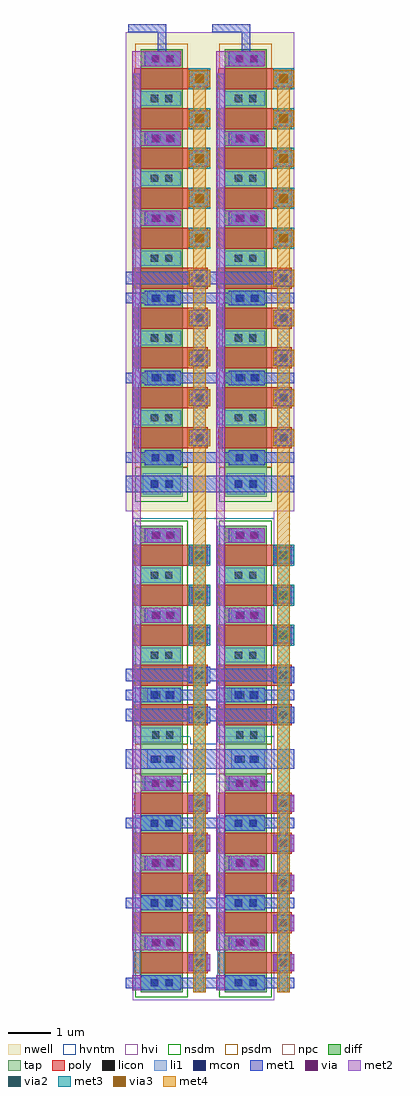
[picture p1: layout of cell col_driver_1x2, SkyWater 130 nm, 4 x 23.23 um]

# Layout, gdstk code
import gdstk
lib = gdstk.Library(unit=1e-6, precision=1e-09)
def R(c, l, rs):  # rectangles x0, y0, x1, y1
    for r in rs: c.add(gdstk.rectangle(r[:2], r[2:], *l))
def A(c, l, x, y, w, h, nx, ny, dx, dy):  # array of equal rectangles
    R(c, l, [(x+i*dx, y+j*dy, x+i*dx+w, y+j*dy+h) for i in range(nx) for j in range(ny)])
nwell = (64, 20)
diff = (65, 20)
tap = (65, 44)
poly = (66, 20)
licon = (66, 44)
li1 = (67, 20)
mcon = (67, 44)
met1 = (68, 20)
via = (68, 44)
met2 = (69, 20)
via2 = (69, 44)
met3 = (70, 20)
via3 = (70, 44)
met4 = (71, 20)
hvi = (75, 20)
nsdm = (93, 44)
psdm = (94, 20)
npc = (95, 20)
hvntm = (125, 20)

col_driver = lib.new_cell('col_driver')
R(col_driver, nwell, [(-0.3,-7.89,1.7,3.51)])
R(col_driver, diff, [(0.05,-19.34,1.05,-14.14), (0.05,-13.44,1.05,-8.24), (0.05,-6.84,1.05,3.11)])
R(col_driver, tap, [(0.05,-14.14,1.05,-13.44), (0.05,-7.54,1.05,-6.84)])
A(col_driver, poly, -0.1, -18.89, 1.75, 0.5, 1, 5, 0, 0.95)
A(col_driver, poly, -0.1, -12.99, 1.75, 0.5, 1, 5, 0, 0.95)
A(col_driver, poly, -0.1, -6.39, 1.75, 0.5, 1, 10, 0, 0.95)
A(col_driver, licon, 0.295, -19.2, 0.17, 0.17, 1, 3, 0, 1.9)
A(col_driver, licon, 0.635, -19.2, 0.17, 0.17, 1, 3, 0, 1.9)
A(col_driver, licon, 1.365, -18.725, 0.17, 0.17, 1, 5, 0, 0.95)
A(col_driver, licon, 1.365, -12.825, 0.17, 0.17, 1, 5, 0, 0.95)
A(col_driver, licon, 1.365, -6.225, 0.17, 0.17, 1, 10, 0, 0.95)
A(col_driver, licon, 0.295, -5.75, 0.17, 0.17, 1, 5, 0, 1.9)
A(col_driver, licon, 0.635, -5.75, 0.17, 0.17, 1, 5, 0, 1.9)
R(col_driver, licon, [(0.345,-18.25,0.515,-18.08), (0.685,-18.25,0.855,-18.08), (0.355,-16.35,0.525,-16.18), (0.695,-16.35,0.865,-16.18), (0.32,-14.45,0.49,-14.28), (0.66,-14.45,0.83,-14.28), (0.355,-13.875,0.525,-13.705), (0.695,-13.875,0.865,-13.705), (0.32,-13.3,0.49,-13.13), (0.66,-13.3,0.83,-13.13), (0.34,-12.35,0.51,-12.18), (0.68,-12.35,0.85,-12.18), (0.295,-11.4,0.465,-11.23), (0.635,-11.4,0.805,-11.23), (0.35,-10.45,0.52,-10.28), (0.69,-10.45,0.86,-10.28), (0.295,-9.5,0.465,-9.33), (0.635,-9.5,0.805,-9.33), (0.35,-8.55,0.52,-8.38), (0.69,-8.55,0.86,-8.38), (0.295,-7.325,0.465,-7.155), (0.635,-7.325,0.805,-7.155), (0.32,-6.7,0.49,-6.53), (0.66,-6.7,0.83,-6.53), (0.365,-4.8,0.535,-4.63), (0.705,-4.8,0.875,-4.63), (0.35,-2.9,0.52,-2.73), (0.69,-2.9,0.86,-2.73), (0.35,-1,0.52,-0.83), (0.69,-1,0.86,-0.83), (0.355,0.9,0.525,1.07), (0.695,0.9,0.865,1.07), (0.32,2.8,0.49,2.97), (0.66,2.8,0.83,2.97)])
A(col_driver, li1, -0.13, -19.29, 1.13, 0.35, 1, 3, 0, 1.9)
A(col_driver, li1, 1.2, -18.84, 0.5, 0.4, 1, 5, 0, 0.95)
A(col_driver, li1, -0.13, -13.39, 1.13, 0.35, 1, 3, 0, 1.9)
A(col_driver, li1, 1.2, -12.94, 0.5, 0.4, 1, 5, 0, 0.95)
A(col_driver, li1, 0.21, -12.44, 0.79, 0.35, 1, 3, 0, 1.9)
A(col_driver, li1, 1.2, -6.34, 0.5, 0.4, 1, 10, 0, 0.95)
A(col_driver, li1, 1.3, -5.94, 0.3, 0.55, 1, 4, 0, 0.95)
A(col_driver, li1, -0.13, -5.84, 1.13, 0.35, 1, 5, 0, 1.9)
A(col_driver, li1, -0.13, -5.49, 0.17, 1.55, 1, 4, 0, 1.9)
A(col_driver, li1, 0.21, -4.89, 0.79, 0.35, 1, 4, 0, 1.9)
R(col_driver, li1, [(-0.13,-18.94,0.04,-17.39), (0.21,-18.34,1,-17.99), (-0.13,-17.04,0.04,-15.49), (0.21,-16.44,1,-16.09), (0.1,-14.54,1,-14.19), (0.21,-14.02,1,-13.56), (-0.13,-13.04,0.04,-11.49), (1.3,-12.54,1.6,-11.99), (-0.13,-11.14,0.04,-9.59), (-0.13,-9.24,0.04,-8.24), (0.1,-7.49,1,-6.99), (0.15,-6.79,1,-6.44), (-0.13,2.11,0.04,2.53), (0.15,2.71,1,3.06)])
A(col_driver, mcon, 0.285, -19.2, 0.17, 0.17, 1, 3, 0, 1.9)
A(col_driver, mcon, 0.645, -19.2, 0.17, 0.17, 1, 3, 0, 1.9)
A(col_driver, mcon, 1.365, -18.725, 0.17, 0.17, 1, 5, 0, 0.95)
A(col_driver, mcon, 0.31, -18.25, 0.17, 0.17, 1, 3, 0, 1.9)
A(col_driver, mcon, 0.67, -18.25, 0.17, 0.17, 1, 3, 0, 1.9)
A(col_driver, mcon, 1.365, -12.825, 0.17, 0.17, 1, 5, 0, 0.95)
A(col_driver, mcon, 0.31, -6.7, 0.17, 0.17, 1, 6, 0, 1.9)
A(col_driver, mcon, 0.67, -6.7, 0.17, 0.17, 1, 6, 0, 1.9)
A(col_driver, mcon, 1.365, -6.225, 0.17, 0.17, 1, 10, 0, 0.95)
R(col_driver, mcon, [(0.29,-13.875,0.46,-13.705), (0.65,-13.875,0.82,-13.705), (0.29,-12.35,0.46,-12.18), (0.65,-12.35,0.82,-12.18), (0.31,-10.45,0.48,-10.28), (0.67,-10.45,0.84,-10.28), (0.31,-8.55,0.48,-8.38), (0.67,-8.55,0.84,-8.38), (0.285,-7.325,0.455,-7.155), (0.645,-7.325,0.815,-7.155)])
A(col_driver, met1, 0.06, -19.29, 0.94, 0.05, 1, 3, 0, 1.9)
A(col_driver, met1, -0.3, -19.24, 2, 0.25, 1, 3, 0, 1.9)
A(col_driver, met1, 0.06, -18.99, 0.94, 0.06, 1, 3, 0, 1.9)
A(col_driver, met1, 1.2, -18.84, 0.5, 0.4, 1, 5, 0, 0.95)
A(col_driver, met1, 0.15, -18.34, 0.85, 0.35, 1, 3, 0, 1.9)
A(col_driver, met1, 1.2, -11.04, 0.5, 0.4, 1, 3, 0, 0.95)
A(col_driver, met1, -0.3, -6.74, 2, 0.25, 1, 3, 0, 1.9)
A(col_driver, met1, 1.2, -6.34, 0.5, 0.4, 1, 4, 0, 0.95)
A(col_driver, met1, 1.2, -1.59, 0.5, 0.4, 1, 5, 0, 0.95)
A(col_driver, met1, 0.15, -1.09, 0.85, 0.35, 1, 3, 0, 1.9)
R(col_driver, met1, [(-0.3,-14.02,1.7,-13.56), (1.2,-12.94,1.7,-12.89), (-0.3,-12.89,1.7,-12.59), (1.2,-12.59,1.7,-12.54), (-0.15,-12.44,1,-12.39), (-0.3,-12.39,1.7,-12.14), (-0.15,-12.14,1,-12.09), (1.2,-11.99,1.7,-11.94), (-0.3,-11.94,1.7,-11.64), (1.2,-11.64,1.7,-11.59), (0.15,-10.54,1,-10.19), (0.15,-8.64,1,-8.29), (-0.3,-7.44,1.7,-7.04), (0.15,-6.79,1,-6.74), (-0.15,-6.49,0,-4.84), (0.15,-6.49,1,-6.44), (0.15,-4.89,1,-4.84), (-0.15,-4.59,0,-2.94), (0.15,-4.59,1,-4.54), (0.15,-2.99,1,-2.94), (0.15,-2.69,1,-2.64), (1.2,-2.54,1.7,-2.49), (-0.3,-2.49,1.7,-2.19), (1.2,-2.19,1.7,-2.14), (0.46,3.06,0.66,3.51), (-0.25,3.51,0.66,3.71)])
A(col_driver, via, 1.375, -18.715, 0.15, 0.15, 1, 5, 0, 0.95)
A(col_driver, via, 0.34, -18.24, 0.15, 0.15, 1, 3, 0, 1.9)
A(col_driver, via, 0.66, -18.24, 0.15, 0.15, 1, 3, 0, 1.9)
A(col_driver, via, 1.375, -10.915, 0.15, 0.15, 1, 3, 0, 0.95)
A(col_driver, via, 1.375, -1.465, 0.15, 0.15, 1, 5, 0, 0.95)
A(col_driver, via, 0.34, -0.99, 0.15, 0.15, 1, 3, 0, 1.9)
A(col_driver, via, 0.66, -0.99, 0.15, 0.15, 1, 3, 0, 1.9)
R(col_driver, via, [(0.34,-10.44,0.49,-10.29), (0.66,-10.44,0.81,-10.29), (0.34,-8.54,0.49,-8.39), (0.66,-8.54,0.81,-8.39)])
A(col_driver, met2, 1.2, -18.84, 0.5, 0.4, 1, 5, 0, 0.95)
A(col_driver, met2, 1.35, -18.44, 0.2, 0.55, 1, 4, 0, 0.95)
A(col_driver, met2, -0.15, -18.34, 1.15, 0.35, 1, 3, 0, 1.9)
A(col_driver, met2, 1.2, -11.04, 0.5, 0.4, 1, 3, 0, 0.95)
A(col_driver, met2, 1.2, -1.59, 0.5, 0.4, 1, 5, 0, 0.95)
A(col_driver, met2, -0.15, -1.09, 1.15, 0.35, 1, 3, 0, 1.9)
R(col_driver, met2, [(1.35,-19.34,1.55,-18.84), (-0.15,-19.29,0.05,-18.93), (-0.15,-17.99,0.05,-16.44), (-0.15,-16.09,0.05,-14.54), (-0.15,-14.19,0.05,-10.54), (-0.15,-10.54,1,-10.19), (-0.15,-10.19,0.05,-8.64), (-0.15,-8.64,1,-8.29), (-0.15,-8.29,0.05,-1.09), (-0.15,-0.74,0.05,0.81), (-0.15,1.16,0.05,2.71)])
A(col_driver, via2, 1.35, -10.94, 0.2, 0.2, 1, 3, 0, 0.95)
A(col_driver, via2, 1.35, -1.49, 0.2, 0.2, 1, 5, 0, 0.95)
A(col_driver, met3, 1.2, -11.09, 0.5, 0.5, 1, 3, 0, 0.95)
A(col_driver, met3, 1.2, -1.64, 0.5, 0.5, 1, 5, 0, 0.95)
R(col_driver, met3, [(1.3,-19.34,1.6,-11.09), (1.3,-10.59,1.6,-10.14), (1.3,-9.64,1.6,-9.19)])
A(col_driver, via3, 1.35, -1.49, 0.2, 0.2, 1, 5, 0, 0.95)
A(col_driver, met4, 1.2, -6.34, 0.5, 0.4, 1, 10, 0, 0.95)
A(col_driver, met4, 1.3, -5.94, 0.3, 0.55, 1, 9, 0, 0.95)
R(col_driver, met4, [(1.3,-19.34,1.6,-6.34)])
R(col_driver, hvi, [(-0.135,-19.525,1.235,-7.89), (-0.3,-7.89,1.7,3.51)])
R(col_driver, nsdm, [(-0.075,-19.465,1.175,-14.14), (-0.075,-13.44,1.175,-8.115), (-0.075,-7.665,1.175,-6.84)])
R(col_driver, psdm, [(-0.075,-14.14,1.175,-13.44), (-0.075,-6.84,1.175,3.235)])
A(col_driver, npc, 1.265, -18.825, 0.37, 0.37, 1, 5, 0, 0.95)
A(col_driver, npc, 1.265, -12.925, 0.37, 0.37, 1, 5, 0, 0.95)
A(col_driver, npc, 1.265, -6.325, 0.37, 0.37, 1, 10, 0, 0.95)
R(col_driver, hvntm, [(-0.135,-19.525,1.235,-14.325), (-0.135,-13.255,1.235,-8.055)])
col_driver.add(gdstk.Label('VP', (-0.3,-7.24), layer=68, texttype=5))
col_driver.add(gdstk.Label('VN', (-0.3,-13.79), layer=68, texttype=5))
col_driver.add(gdstk.Label('col', (0.54,3.51), layer=68, texttype=5))
col_driver.add(gdstk.Label('Vgpc', (-0.3,-2.34), layer=68, texttype=5))
col_driver.add(gdstk.Label('Vc+', (-0.3,-6.64), layer=68, texttype=5))
col_driver.add(gdstk.Label('Vc-', (-0.3,-12.24), layer=68, texttype=5))
col_driver.add(gdstk.Label('Vgnc', (-0.3,-11.79), layer=68, texttype=5))
col_driver.add(gdstk.Label('Vref', (-0.3,-15.3), layer=68, texttype=5))
col_driver.add(gdstk.Label('SWref', (1.45,-19.3), layer=70, texttype=5))
col_driver.add(gdstk.Label('SWc-', (1.5,-19.3), layer=69, texttype=5))
col_driver.add(gdstk.Label('SWc+', (1.38,-19.3), layer=71, texttype=5))

col_driver_1x2 = lib.new_cell('col_driver_1x2')
R(col_driver_1x2, hvi, [(1.535,-0.185,2.165,11.45)])
R(col_driver_1x2, hvntm, [(1.535,-0.185,2.165,5.2), (1.535,5.9,2.165,11.285)])
col_driver_1x2.add(gdstk.Reference(col_driver, (2.3,19.34)))
col_driver_1x2.add(gdstk.Reference(col_driver, (0.3,19.34)))

lib.write_gds('col_driver_1x2.gds')
